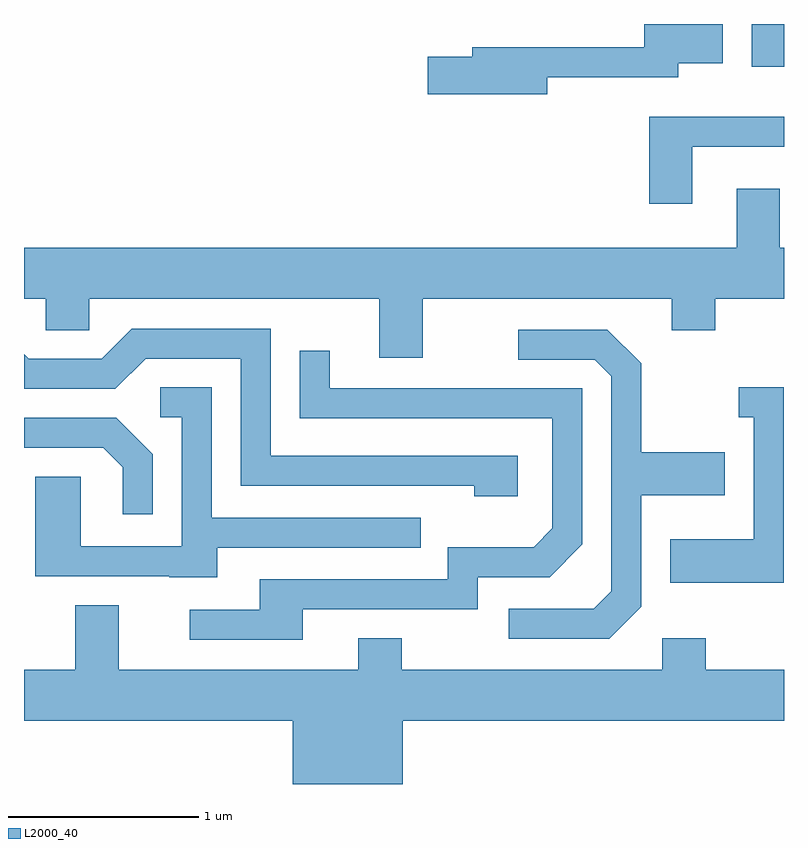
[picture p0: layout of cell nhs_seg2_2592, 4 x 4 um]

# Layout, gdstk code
import gdstk
lib = gdstk.Library(unit=1e-6, precision=1e-09)
def R(c, l, rs):  # rectangles x0, y0, x1, y1
    for r in rs: c.add(gdstk.rectangle(r[:2], r[2:], *l))
def P(c, l, *ps):  # polygons
    for p in ps: c.add(gdstk.Polygon(p, *l))
L2000_40 = (2000, 40)

nhs_seg2_2592 = lib.new_cell('nhs_seg2_2592')
R(nhs_seg2_2592, L2000_40, [(265.441,1009.576,265.611,1009.802)])
P(nhs_seg2_2592, L2000_40, [(264.364,1009.521),(265.054,1009.521),(265.054,1009.596),(265.289,1009.596),(265.289,1009.802),(264.876,1009.802),(264.876,1009.679),(263.971,1009.679),(263.971,1009.629),(263.736,1009.629),(263.736,1009.431),(264.364,1009.431)],
  [(265.129,1009.156),(265.611,1009.156),(265.611,1009.314),(264.901,1009.314),(264.901,1008.856),(265.129,1008.856)],
  [(263.709,1008.356),(265.021,1008.356),(265.021,1008.191),(265.249,1008.191),(265.249,1008.356),(265.611,1008.356),(265.611,1008.624),(265.589,1008.624),(265.589,1008.934),(265.361,1008.934),(265.361,1008.624),(261.611,1008.624),(261.611,1008.356),(261.726,1008.356),(261.726,1008.191),(261.954,1008.191),(261.954,1008.356),(263.481,1008.356),(263.481,1008.046),(263.709,1008.046)],
  [(264.209,1007.529),(262.909,1007.529),(262.909,1008.199),(262.179,1008.199),(262.019,1008.039),(261.637,1008.039),(261.611,1008.065),(261.611,1007.881),(262.092,1007.881),(262.252,1008.041),(262.751,1008.041),(262.751,1007.371),(263.981,1007.371),(263.981,1007.316),(264.209,1007.316)],
  [(264.859,1006.734),(264.859,1007.321),(265.299,1007.321),(265.299,1007.549),(264.859,1007.549),(264.859,1008.017),(264.682,1008.194),(264.213,1008.194),(264.213,1008.036),(264.614,1008.036),(264.701,1007.949),(264.701,1006.817),(264.609,1006.724),(264.163,1006.724),(264.163,1006.566),(264.692,1006.566)],
  [(263.079,1006.721),(263.999,1006.721),(263.999,1006.891),(264.377,1006.891),(264.549,1007.064),(264.549,1007.884),(263.219,1007.884),(263.219,1008.083),(263.061,1008.083),(263.061,1007.726),(264.391,1007.726),(264.391,1007.147),(264.294,1007.049),(263.841,1007.049),(263.841,1006.879),(262.851,1006.879),(262.851,1006.719),(262.483,1006.719),(262.483,1006.561),(263.079,1006.561)],
  [(262.629,1007.046),(263.698,1007.046),(263.698,1007.204),(262.599,1007.204),(262.599,1007.889),(262.328,1007.889),(262.328,1007.731),(262.441,1007.731),(262.441,1007.054),(261.909,1007.054),(261.909,1007.419),(261.671,1007.419),(261.671,1006.896),(262.375,1006.896),(262.375,1006.891),(262.629,1006.891)],
  [(265.609,1007.889),(265.373,1007.889),(265.373,1007.731),(265.451,1007.731),(265.451,1007.089),(265.011,1007.089),(265.011,1006.861),(265.609,1006.861)],
  [(262.289,1007.537),(262.097,1007.729),(261.611,1007.729),(261.611,1007.571),(262.029,1007.571),(262.131,1007.469),(262.131,1007.223),(262.289,1007.223)],
  [(265.611,1006.404),(265.199,1006.404),(265.199,1006.569),(264.971,1006.569),(264.971,1006.404),(263.599,1006.404),(263.599,1006.569),(263.371,1006.569),(263.371,1006.404),(262.109,1006.404),(262.109,1006.744),(261.881,1006.744),(261.881,1006.404),(261.611,1006.404),(261.611,1006.136),(263.026,1006.136),(263.026,1005.802),(263.604,1005.802),(263.604,1006.136),(265.611,1006.136)])

lib.write_gds('nhs_seg2_2592.gds')
